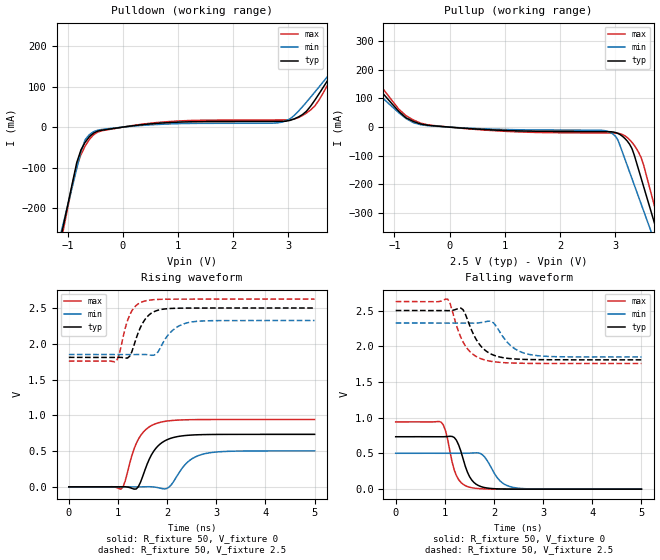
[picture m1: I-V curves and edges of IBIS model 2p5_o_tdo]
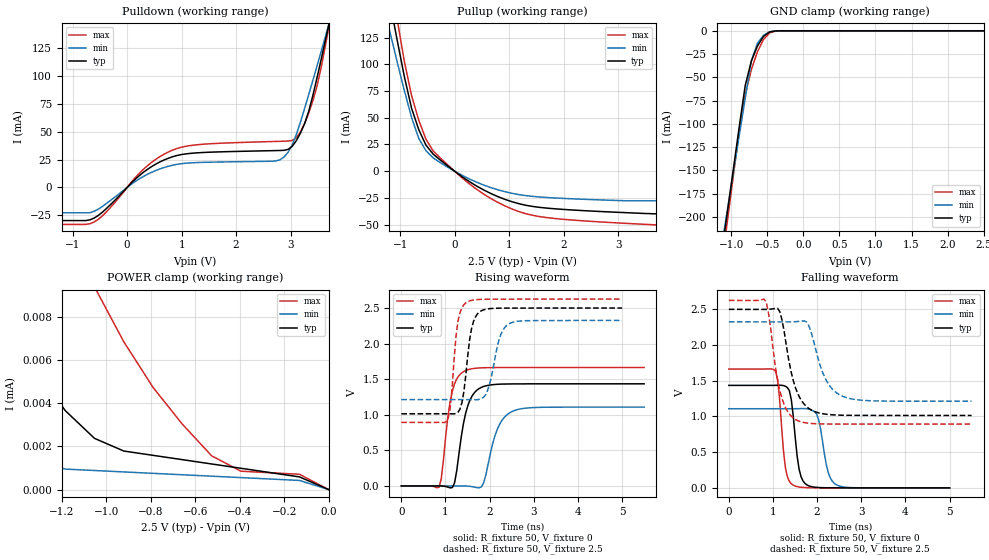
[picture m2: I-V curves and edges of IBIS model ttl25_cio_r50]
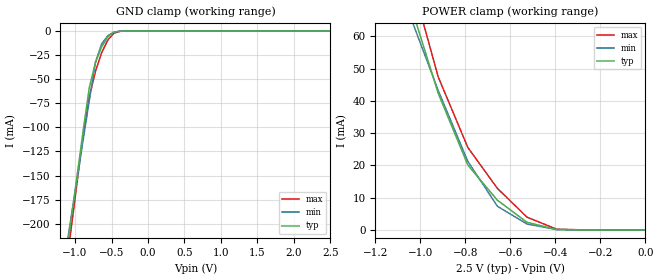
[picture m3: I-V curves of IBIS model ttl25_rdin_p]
[IBIS Ver]   4.1
[Comment Char] |_char
[File Name]   binaryadder.ibs
[File Rev]   2.0
[Date]   November 07, 2024
[Source]   Derived from cycloneIII_spice_model,rev 1.0, dated 11/02/07
   using HSPICE Y-2006.03
[Notes]   - The models are designated as "Correlated" and have been
   correlated against physical device operation.
   - This IBIS model is checked using IBISCHK v4.2.2
   There are no known errors and warnings reported.
   - There are no known limitations for this IBIS model release.
   - Contact point: Altera Corporation,
   http://www.altera.com/corporate/contact/con-index.html
   - This file is generated using Quartus II
   Version 13.1.0 Build 162 10/23/2013 SJ Web Edition
   - Unused IOs which have been assigned as tri-stated inputs or
   as outputs driving any signal in Quartus II are represented
   by the NC.
   - Only general purpose and configuration I/O IBIS models are
   supported
   Revision History
   - v2.0
   - Initial Release of Cyclone IV IBIS models
   - C_comp values for different pin types
   When an IBIS model is assigned to different pin types in
   Cyclone III LS devices, the C_comp value will be different.
   Use the following C_comp values according to the pin types:
   Pin Type   C_comp
   Normal Column I/O   4.7pF
   Normal Row I/O   4.4pF
   Differential Row I/O   5.0pF
   *Note (1): These IBIS models are generated based on a
   pre-determined Quartus II default slew rate setting.
   For IBIS models with other slew rate settings,
   please contact Altera Corporation.
[Disclaimer]   Data is for modeling purposes only and is not guaranteed.
[Copyright]   Copyright (C) 1991-2013 Altera Corporation
[Component]   EP4CE115F29C7_binaryadder
[Manufacturer] Altera Corporation
[Package]
| RLC values are for 780 FBGA package
| variable  typ   min   max
R_pkg   412m   146m   747m
L_pkg   7.87nH   2.67nH   15.98nH
C_pkg   0.73pF   0.35pF   1.29pF
[Pin]  signal_name   model_name   R_pin   L_pin   C_pin
A13   VCCIO8   POWER
A16   VCCIO7   POWER
A2   VCCIO8   POWER
A20   VCCIO7   POWER
A24   VCCIO7   POWER
A27   VCCIO7   POWER
A5   VCCIO8   POWER
A9   VCCIO8   POWER
AA1   VCCIO2   POWER
AA11   VCCIO3   POWER
AA18   VCCIO4   POWER
AA2   GND   GND
AA27   GND   GND
AA28   VCCIO5   POWER
AB28   SW[0]   ttl25_rdin_p
AC13   GND   GND
AC16   GND   GND
AC20   GND   GND
AC23   GND   GND
AC27   SW[2]   ttl25_rdin_p
AC28   SW[1]   ttl25_rdin_p
AC6   GND   GND
AC9   GND   GND
AD13   VCCIO3   POWER
AD16   VCCIO4   POWER
AD20   VCCIO4   POWER
AD23   VCCIO4   POWER
AD6   VCCIO3   POWER
AD9   VCCIO3   POWER
AF1   GND   GND
AF28   GND   GND
AG1   VCCIO2   POWER
AG13   GND   GND
AG16   GND   GND
AG2   GND   GND
AG20   GND   GND
AG24   GND   GND
AG27   GND   GND
AG28   VCCIO5   POWER
AG5   GND   GND
AG9   GND   GND
AH13   VCCIO3   POWER
AH16   VCCIO4   POWER
AH2   VCCIO3   POWER
AH20   VCCIO4   POWER
AH24   VCCIO4   POWER
AH27   VCCIO4   POWER
AH5   VCCIO3   POWER
AH9   VCCIO3   POWER
B1   VCCIO1   POWER
B12   GND   GND
B13   GND   GND
B16   GND   GND
B2   GND   GND
B20   GND   GND
B24   GND   GND
B27   GND   GND
B28   VCCIO6   POWER
B5   GND   GND
B9   GND   GND
C1   GND   GND
C28   GND   GND
D3   GND   GND
E13   VCCIO8   POWER
E16   VCCIO7   POWER
E20   VCCIO7   POWER
E23   VCCIO7   POWER
E6   VCCIO8   POWER
E9   VCCIO8   POWER
F13   GND   GND
F16   GND   GND
F19   LEDR[1]   ttl25_cio_r50
F20   GND   GND
F23   GND   GND
F6   GND   GND
F9   GND   GND
G19   LEDR[0]   ttl25_cio_r50
H1   VCCIO1   POWER
H11   VCCIO8   POWER
H18   VCCIO7   POWER
H2   GND   GND
H27   GND   GND
H28   VCCIO6   POWER
J11   GND   GND
J18   GND   GND
J2   GND   GND
J20   VCCD_PLL2   POWER
J21   VCCA2   POWER
J8   VCCA3   POWER
J9   VCCD_PLL3   POWER
K10   GND   GND
K11   VCCINT   POWER
K12   GND   GND
K13   VCCINT   POWER
K14   GND   GND
K15   VCCINT   POWER
K16   GND   GND
K17   VCCINT   POWER
K18   GND   GND
K19   VCCINT   POWER
K20   GND   GND
K23   GND   GND
K24   VCCIO6   POWER
K5   VCCIO1   POWER
K6   GND   GND
K9   VCCINT   POWER
L10   VCCINT   POWER
L11   GND   GND
L12   VCCINT   POWER
L13   GND   GND
L14   VCCINT   POWER
L15   GND   GND
L16   VCCINT   POWER
L17   GND   GND
L18   VCCINT   POWER
L19   GND   GND
L20   VCCINT   POWER
L9   GND   GND
M10   GND   GND
M11   VCCINT   POWER
M12   GND   GND
M13   VCCINT   POWER
M14   GND   GND
M15   VCCINT   POWER
M16   GND   GND
M17   VCCINT   POWER
M18   GND   GND
M19   VCCINT   POWER
M20   GND   GND
M9   VCCINT   POWER
N1   VCCIO1   POWER
N10   VCCINT   POWER
N11   GND   GND
N12   VCCINT   POWER
N13   GND   GND
N14   VCCINT   POWER
N15   GND   GND
N16   VCCINT   POWER
N17   GND   GND
N18   VCCINT   POWER
N19   GND   GND
N2   GND   GND
N20   VCCINT   POWER
N23   GND   GND
N24   VCCIO6   POWER
N27   GND   GND
N28   VCCIO6   POWER
N5   VCCIO1   POWER
N6   GND   GND
N9   GND   GND
P10   GND   GND
P11   VCCINT   POWER
P12   GND   GND
P13   VCCINT   POWER
P14   GND   GND
P15   VCCINT   POWER
P16   GND   GND
P17   VCCINT   POWER
P18   GND   GND
P19   VCCINT   POWER
P20   GND   GND
P5   TCK   ttl33_rin
P6   TDO   2p5_o_tdo
P7   TDI   ttl33_rin
P8   TMS   ttl33_rin
P9   VCCINT   POWER
R10   VCCINT   POWER
R11   GND   GND
R12   VCCINT   POWER
R13   GND   GND
R14   VCCINT   POWER
R15   GND   GND
R16   VCCINT   POWER
R17   GND   GND
R18   VCCINT   POWER
R19   GND   GND
R20   VCCINT   POWER
R9   GND   GND
T1   VCCIO2   POWER
T10   GND   GND
T11   VCCINT   POWER
T12   GND   GND
T13   VCCINT   POWER
T14   GND   GND
T15   VCCINT   POWER
T16   GND   GND
T17   VCCINT   POWER
T18   GND   GND
T19   VCCINT   POWER
T2   GND   GND
T20   GND   GND
T23   GND   GND
T24   VCCIO5   POWER
T27   GND   GND
T28   VCCIO5   POWER
T5   VCCIO2   POWER
T6   GND   GND
T9   VCCINT   POWER
U10   VCCINT   POWER
U11   GND   GND
U12   VCCINT   POWER
U13   GND   GND
U14   VCCINT   POWER
U15   GND   GND
U16   VCCINT   POWER
U17   GND   GND
U18   VCCINT   POWER
U19   GND   GND
U20   VCCINT   POWER
U9   GND   GND
V10   GND   GND
V11   VCCINT   POWER
V12   GND   GND
V13   VCCINT   POWER
V14   GND   GND
V15   VCCINT   POWER
V16   GND   GND
V17   VCCINT   POWER
V18   GND   GND
V19   VCCINT   POWER
V20   GND   GND
V9   VCCINT   POWER
W10   VCCINT   POWER
W11   GND   GND
W12   VCCINT   POWER
W13   GND   GND
W14   VCCINT   POWER
W15   GND   GND
W16   VCCINT   POWER
W17   GND   GND
W18   VCCINT   POWER
W19   GND   GND
W20   VCCINT   POWER
W23   GND   GND
W24   VCCIO5   POWER
W5   VCCIO2   POWER
W6   GND   GND
W9   GND   GND
Y11   GND   GND
Y18   GND   GND
Y20   VCCD_PLL4   POWER
Y21   VCCA4   POWER
Y8   VCCA1   POWER
Y9   VCCD_PLL1   POWER
| Models and submodels in the file (4): 2p5_o_tdo (Output), ttl25_cio_r50 (I/O), ttl25_rdin_p (Input), ttl33_rin (Input)
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[Model]   2p5_o_tdo
Model_type  Output
Polarity   Non-Inverting
Vmeas  = 1.1625
Rref   = 10M
Cref   = 0pF
Vref   = 0
| C_comp values for differential type row I/O
C_comp 5.0pF   5.0pF   5.0pF
[Temperature Range] 25   85   0
[Voltage Range]  2.5   2.325   2.625
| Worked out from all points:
|   slope of the pulldown table from 0 to 0.375 V, typ, clamps not added: 59.4 ohm
|   slope of the pullup table from 0 to 0.375 V, typ, clamps not added: 70.7 ohm
|   rising waveform, R_fixture 50, V_fixture 0: 20-80 % time 336ps typ, 374ps min, 313ps max; typ from 0 V to 0.734 V
|   falling waveform, R_fixture 50, V_fixture 0: 20-80 % time 232ps typ, 289ps min, 199ps max; typ from 0.734 V to 0 V
|   rising waveform, R_fixture 50, V_fixture 2.5: 20-80 % time 265ps typ, 331ps min, 223ps max; typ from 1.81 V to 2.5 V
|   falling waveform, R_fixture 50, V_fixture 2.5: 20-80 % time 346ps typ, 381ps min, 331ps max; typ from 2.5 V to 1.81 V
[Pulldown]
| voltage   I (typ)   I (min)   I (max)
-2.5V     -1.152A    -1.021A    -1.22A
-1.136V   -280.7mA   -269.5mA   -293.4mA
-1.061V   -232.2mA   -227.7mA   -241.9mA
-909.1mV  -135.4mA   -144.1mA   -139mA
-757.6mV  -56.18mA   -60.59mA   -67.99mA
-530.3mV  -14.81mA   -11.38mA   -19.03mA
757.6mV   10.54mA    7.416mA    12.87mA
3.106V    20.11mA    28.46mA    19.76mA
3.485V    67.06mA    86.87mA    52.71mA
4.318V    242.4mA    227.8mA    254.1mA
4.47V     273.4mA    253.5mA    289.8mA
5V        378.3mA    343.8mA    408.7mA
[Pullup]
| voltage   I (typ)   I (min)   I (max)
-2.5V     400.6mA    336.4mA    456.4mA
-2.105V   314.1mA    264.2mA    357.8mA
-921.1mV  54.93mA    50.51mA    62.68mA
-657.9mV  19.83mA    15.63mA    25.1mA
657.9mV   -8.547mA   -6.201mA   -10.54mA
3.009V    -18.76mA   -32.43mA   -20.95mA
3.305V    -74.9mA    -179.5mA   -52.87mA
3.475V    -180.2mA   -269.9mA   -107.8mA
3.644V    -290.1mA   -360.2mA   -225.1mA
3.729V    -345.1mA   -405.5mA   -286.5mA
3.814V    -400.1mA   -450.6mA   -348mA
5V        -1.17A     -1.083A    -1.209A
[Ramp]
dV/dt_r   4.402e-001/3.356e-010  3.014e-001/3.735e-010  5.649e-001/3.127e-010
dV/dt_f   4.140e-001/3.456e-010  2.850e-001/3.811e-010  5.196e-001/3.309e-010
R_load = 50ohms
[Rising Waveform]
R_fixture   = 50
V_fixture   = 0
V_fixture_min = 0
V_fixture_max = 0
| time   V (typ)   V (min)   V (max)
0s        0V         0V         0V
1.06ns    743.5uV    -222.3uV   -32.57mV
1.149ns   1.245mV    -175.6uV   85.49mV
1.415ns   2.627mV    -246.3uV   665.4mV
1.636ns   385.8mV    1.588mV    838mV
1.813ns   570.8mV    -11.67mV   893.4mV
2.035ns   669.1mV    -6.437mV   922.9mV
2.389ns   718.6mV    327.4mV    937.4mV
2.744ns   730.1mV    459.6mV    940.5mV
5ns       733.7mV    502.3mV    941.5mV
[Falling Waveform]
R_fixture   = 50
V_fixture   = 0
V_fixture_min = 0
V_fixture_max = 0
| time   V (typ)   V (min)   V (max)
0s        733.7mV    502.3mV    941.5mV
927.2ps   733.6mV    502.4mV    936.4mV
1.016ns   735mV      502.3mV    812.3mV
1.149ns   737.8mV    502.2mV    377.6mV
1.237ns   682.2mV    502.2mV    186.3mV
1.503ns   174.6mV    503.7mV    27.12mV
1.769ns   28.84mV    479.1mV    4.731mV
2.123ns   3.109mV    115.5mV    476.8uV
2.389ns   586.8uV    25.06mV    84.75uV
5ns       2.63uV     1.841uV    5.383uV
[Rising Waveform]
R_fixture   = 50
V_fixture   = 2.5
V_fixture_min = 2.325
V_fixture_max = 2.625
| time   V (typ)   V (min)   V (max)
0s        1.81V      1.85V      1.758V
971.5ps   1.809V     1.849V     1.763V
1.016ns   1.81V      1.849V     1.828V
1.237ns   1.825V     1.849V     2.401V
1.37ns    2.075V     1.849V     2.536V
1.548ns   2.337V     1.85V      2.598V
1.769ns   2.459V     1.853V     2.618V
2.079ns   2.494V     2.167V     2.624V
2.478ns   2.499V     2.303V     2.624V
5ns       2.5V       2.325V     2.625V
[Falling Waveform]
R_fixture   = 50
V_fixture   = 2.5
V_fixture_min = 2.325
V_fixture_max = 2.625
| time   V (typ)   V (min)   V (max)
0s        2.5V       2.325V     2.625V
1.06ns    2.498V     2.324V     2.658V
1.326ns   2.534V     2.324V     2.123V
1.415ns   2.454V     2.324V     2.008V
1.636ns   2.097V     2.324V     1.858V
1.858ns   1.924V     2.348V     1.8V
1.991ns   1.876V     2.327V     1.784V
2.345ns   1.827V     2.005V     1.766V
2.699ns   1.815V     1.888V     1.76V
5ns       1.81V      1.85V      1.759V
[Model]   ttl25_cio_r50
Model_type  I/O
Polarity   Non-Inverting
Enable Active-Low
Vinl   = 0.7
Vinh   = 1.7
Vmeas  = 1.1625
Rref   = 10M
Cref   = 0pF
Vref   = 0
| C_comp values for normal column I/O
C_comp 4.7pF   4.7pF   4.7pF
[Temperature Range] 25   85   0
[Voltage Range]  2.5   2.325   2.625
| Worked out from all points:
|   slope of the pulldown table from 0 to 0.375 V, typ, clamps not added: 23 ohm
|   slope of the pullup table from 0 to 0.375 V, typ, clamps not added: 28.9 ohm
|   GND clamp passes 1 mA (typ) near -0.45 V on its own axis
|   rising waveform, R_fixture 50, V_fixture 0: 20-80 % time 247ps typ, 309ps min, 207ps max; typ from 0 V to 1.44 V
|   falling waveform, R_fixture 50, V_fixture 0: 20-80 % time 154ps typ, 191ps min, 137ps max; typ from 1.44 V to 0 V
|   rising waveform, R_fixture 50, V_fixture 2.5: 20-80 % time 176ps typ, 239ps min, 146ps max; typ from 1.01 V to 2.5 V
|   falling waveform, R_fixture 50, V_fixture 2.5: 20-80 % time 319ps typ, 376ps min, 274ps max; typ from 2.5 V to 1.01 V
[GND Clamp]
| voltage   I (typ)   I (min)   I (max)
-2.5V     -1.003A    -896.6mA   -1.061A
-1.144V   -246.2mA   -237.3mA   -259.1mA
-1.059V   -198.9mA   -196.1mA   -209mA
-974.6mV  -151.6mA   -154.9mA   -158.9mA
-889.8mV  -104.3mA   -113.6mA   -108.8mA
-805.1mV  -58.87mA   -72.41mA   -68.82mA
-720.3mV  -32.71mA   -32.28mA   -41.9mA
-635.6mV  -16.39mA   -13.32mA   -22.54mA
-550.8mV  -6.002mA   -4.742mA   -9.332mA
-466.1mV  -1.154mA   -978.7uA   -2.246mA
-296.6mV  -4.684uA   -8.884uA   -9.494uA
2.5V      0A         0A         0A
[Pulldown]
| voltage   I (typ)   I (min)   I (max)
-2.5V     -29.71mA   -22.7mA    -33.15mA
-681.8mV  -29.03mA   -22.7mA    -32.55mA
-378.8mV  -18.84mA   -14.37mA   -21.84mA
303mV     13.76mA    10mA       16.49mA
833.3mV   27.57mA    19.96mA    33.53mA
2.803V    33.2mA     24.8mA     41.43mA
3.03V     36.99mA    38.24mA    42.21mA
3.258V    57.38mA    71mA       57.54mA
3.485V    98.5mA     109.1mA    90.94mA
3.636V    131.6mA    135.2mA    126.9mA
3.712V    148.4mA    148.4mA    146.7mA
5V        421.5mA    373.8mA    464.2mA
[POWER Clamp]
| voltage   I (typ)   I (min)   I (max)
-2.5V     124.1uA    71.36uA    181.7uA
-1.842V   22.85uA    9.498uA    53.98uA
-1.579V   12.21uA    4.121uA    28.45uA
-1.447V   8.385uA    2.418uA    21.97uA
-1.316V   5.568uA    1.354uA    16.64uA
-1.184V   3.666uA    951.8nA    12.52uA
-1.053V   2.377uA    886nA      9.404uA
-789.5mV  1.589uA    754.4nA    4.74uA
-526.3mV  1.189uA    622.9nA    1.568uA
-394.7mV  989.5nA    557.1nA    853.5nA
-131.6mV  589.5nA    425.3nA    711.3nA
0V        0A         0A         0A
[Pullup]
| voltage   I (typ)   I (min)   I (max)
-2.5V     508.6mA    411.8mA    590.4mA
-1.316V   192.5mA    157.6mA    223.2mA
-1.184V   157.4mA    129.6mA    182.4mA
-1.053V   122.3mA    102mA      141.6mA
-789.5mV  58.86mA    50.17mA    70.78mA
-657.9mV  38.91mA    30.79mA    47.7mA
-526.3mV  24.48mA    19.17mA    30.01mA
-394.7mV  16.05mA    12.5mA     19.01mA
131.6mV   -4.932mA   -3.678mA   -5.961mA
921.1mV   -26.26mA   -19.12mA   -32.38mA
1.974V    -35.63mA   -25.35mA   -44.85mA
5V        -39.81mA   -27.66mA   -50.31mA
[Ramp]
dV/dt_r   8.610e-001/2.472e-010  6.648e-001/3.088e-010  9.984e-001/2.068e-010
dV/dt_f   8.916e-001/3.193e-010  6.666e-001/3.756e-010  1.039e+000/2.735e-010
R_load = 50ohms
[Rising Waveform]
R_fixture   = 50
V_fixture   = 0
V_fixture_min = 0
V_fixture_max = 0
| time   V (typ)   V (min)   V (max)
0s        2.639uV    2.315uV    1.245uV
851.3ps   1.084mV    -151.7uV   -19.47mV
901.9ps   669.2uV    -122.8uV   89.86mV
1.104ns   -26.77mV   -160.7uV   1.182V
1.206ns   43.29mV    -182.3uV   1.436V
1.459ns   1.026V     -321.9uV   1.623V
1.813ns   1.385V     -13.31mV   1.659V
2.168ns   1.428V     786.5mV    1.664V
2.522ns   1.434V     1.05V      1.664V
5.5ns     1.435V     1.108V     1.664V
[Falling Waveform]
R_fixture   = 50
V_fixture   = 0
V_fixture_min = 0
V_fixture_max = 0
| time   V (typ)   V (min)   V (max)
0s        1.435V     1.108V     1.664V
1.06ns    1.436V     1.108V     1.631V
1.282ns   1.423V     1.108V     282.9mV
1.459ns   1.007V     1.108V     37.87mV
1.592ns   260.9mV    1.109V     12.18mV
1.813ns   27.89mV    1.102V     2.163mV
2.035ns   4.768mV    956mV      400.4uV
2.256ns   882.8uV    205.6mV    73.55uV
2.433ns   227.2uV    44mV       19.38uV
5ns       1.105uV    0V         889.9nV
[Rising Waveform]
R_fixture   = 50
V_fixture   = 2.5
V_fixture_min = 2.325
V_fixture_max = 2.625
| time   V (typ)   V (min)   V (max)
0s        1.014V     1.214V     893.2mV
1.06ns    1.015V     1.213V     948.2mV
1.282ns   1.034V     1.213V     2.31V
1.415ns   1.316V     1.213V     2.545V
1.503ns   1.825V     1.213V     2.589V
1.725ns   2.418V     1.212V     2.619V
1.946ns   2.487V     1.329V     2.624V
2.212ns   2.498V     2.051V     2.624V
2.433ns   2.499V     2.276V     2.624V
5ns       2.5V       2.325V     2.625V
[Falling Waveform]
R_fixture   = 50
V_fixture   = 2.5
V_fixture_min = 2.325
V_fixture_max = 2.625
| time   V (typ)   V (min)   V (max)
0s        2.5V       2.325V     2.625V
851.3ps   2.499V     2.324V     2.59V
1.054ns   2.513V     2.324V     1.7V
1.155ns   2.466V     2.324V     1.36V
1.408ns   1.632V     2.324V     1.007V
1.56ns    1.322V     2.33V      941.6mV
1.763ns   1.137V     2.321V     908.6mV
2.168ns   1.034V     1.554V     894.8mV
2.573ns   1.017V     1.284V     893.4mV
5.5ns     1.014V     1.214V     893.3mV
[Model]   ttl25_rdin_p
Model_type  Input
Polarity   Non-Inverting
Vinl   = 0.7
Vinh   = 1.7
| C_comp values for differential type row I/O
C_comp 5.0pF   5.0pF   5.0pF
[Temperature Range] 25   85   0
[Voltage Range]  2.5   2.325   2.625
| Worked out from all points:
|   GND clamp passes 1 mA (typ) near -0.45 V on its own axis
|   POWER clamp passes 1 mA (typ) near -0.45 V on its own axis
[GND Clamp]
| voltage   I (typ)   I (min)   I (max)
-2.5V     -1.003A    -896.6mA   -1.061A
-1.144V   -246.2mA   -237.3mA   -259.1mA
-1.059V   -198.9mA   -196.1mA   -209mA
-974.6mV  -151.6mA   -154.9mA   -158.9mA
-889.8mV  -104.3mA   -113.6mA   -108.8mA
-805.1mV  -58.87mA   -72.41mA   -68.82mA
-720.3mV  -32.71mA   -32.28mA   -41.9mA
-635.6mV  -16.39mA   -13.32mA   -22.54mA
-550.8mV  -6.002mA   -4.742mA   -9.332mA
-466.1mV  -1.154mA   -978.7uA   -2.246mA
-296.6mV  -4.689uA   -8.883uA   -9.496uA
2.5V      0A         0A         0A
[POWER Clamp]
| voltage   I (typ)   I (min)   I (max)
-2.5V     389.8mA    336.8mA    437.6mA
-1.053V   71.68mA    67.52mA    80.6mA
-921.1mV  42.33mA    43.22mA    47.4mA
-789.5mV  20.11mA    21.25mA    25.55mA
-657.9mV  9.193mA    7.337mA    12.86mA
-526.3mV  2.379mA    1.839mA    3.962mA
-394.7mV  116.6uA    134.2uA    243.9uA
0V        0A         0A         0A
